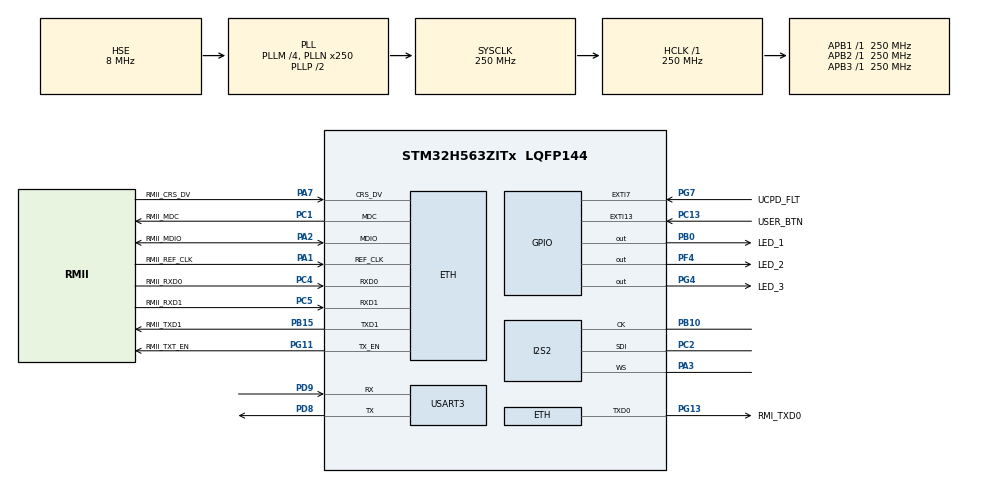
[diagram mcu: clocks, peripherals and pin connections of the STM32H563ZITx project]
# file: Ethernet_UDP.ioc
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BOOTPATH.BootPathName=LEGACY
BOOTPATH.UserSelectedBootPath=LEGACY
CORTEX_M33_NS.userName=CORTEX_M33
ETH.MediaInterface=HAL_ETH_RMII_MODE
GPDMA1.CIRCULARMODE_GPDMACH0=ENABLE
GPDMA1.DESTBURSTLENGTH_GPDMACH0=1
GPDMA1.DESTDATAWIDTH_GPDMACH0=DMA_DEST_DATAWIDTH_HALFWORD
GPDMA1.DESTINC_GPDMACH0=DMA_DINC_INCREMENTED
GPDMA1.IPHANDLE_GPDMACH0-SIMPLEREQUEST_GPDMACH0=__NULL
GPDMA1.PRIORITY_LL_CIRCULAR_GPDMACH0=DMA_LOW_PRIORITY_HIGH_WEIGHT
GPDMA1.REQUEST_GPDMACH0=GPDMA1_REQUEST_SPI2_RX
GPDMA1.SRCBURSTLENGTH_GPDMACH0=1
GPDMA1.SRCDATAWIDTH_GPDMACH0=DMA_SRC_DATAWIDTH_HALFWORD
GPDMA1.TRANSFERALLOCATEDPORTDEST_GPDMACH0=DMA_DEST_ALLOCATED_PORT1
I2S2.AudioFreq=I2S_AUDIOFREQ_32K
I2S2.CPOL=I2S_CPOL_LOW
I2S2.Data24BitAlignment=I2S_DATA_24BIT_ALIGNMENT_RIGHT
I2S2.DataFormat=I2S_DATAFORMAT_16B_EXTENDED
I2S2.ErrorAudioFreq=0.05 %
I2S2.FirstBit=I2S_FIRSTBIT_MSB
I2S2.Instance=SPI$Index
I2S2.RealAudioFreq=32.018 KHz
I2S2.WSInversion=I2S_WS_INVERSION_DISABLE
Mcu.Family=STM32H5
Mcu.Name=STM32H563ZITx
Mcu.Package=LQFP144
NETXDUO.ETH_ON=1
NETXDUO.Initialize_ICMP_protocol=false
NETXDUO.Initialize_TCP_protocol=false
NETXDUO.LAN_8742=1
NETXDUO.NX_APP_MEM_POOL_SIZE=1024*100
NETXDUO.NX_APP_THREAD_STACK_SIZE=1024*4
NETXDUO.NX_ENABLE_IP_STATIC_ROUTING=false
NETXDUO.NetXDuo_Generate_Init_Code=true
NETXDUO.NetXDuo_Static_IP_address=192.168.1.111
NVIC.ETH_IRQn=true\:7\:0\:true\:false\:true\:false\:true\:true\:true
NVIC.EXTI13_IRQn=true\:0\:0\:true\:false\:true\:false\:true\:true\:true
NVIC.GPDMA1_Channel0_IRQn=true\:0\:0\:false\:false\:true\:true\:false\:true\:true
NVIC.PriorityGroup=NVIC_PRIORITYGROUP_4
NVIC.SPI2_IRQn=true\:8\:0\:true\:false\:true\:false\:true\:true\:true
NVIC.TIM6_IRQn=true\:15\:0\:false\:false\:true\:false\:false\:true\:true
NVIC.TimeBase=TIM6_IRQn
NVIC.TimeBaseIP=TIM6
NetXDuo.BSP.number=1
NetXDuo0.BSP.STBoard=false
NetXDuo0.BSP.api=BSP_COMPONENT_DRIVER
NetXDuo0.BSP.component=lan8742
NetXDuo0.BSP.instance=lan8742
NetXDuo0.BSP.name=LAN_Component
NetXDuo0.BSP.semaphore=SEMA_lan8742
NetXDuo0.BSP.solution=lan8742
PA1.GPIO_Label=RMII_REF_CLK
PA1.GPIO_Mode=GPIO_MODE_AF_PP
PA1.GPIO_PuPd=GPIO_NOPULL
PA1.GPIO_Speed=GPIO_SPEED_FREQ_LOW
PA1.GPIO_Speed_Default_HIGH=GPIO_SPEED_FREQ_VERY_HIGH
PA1.Mode=RMII
PA1.Signal=ETH_REF_CLK
PA11.GPIO_Label=USB_FS_N
PA11.Signal=USB_DM
PA12.GPIO_Label=USB_FS_P
PA12.Signal=USB_DP
PA13(JTMS/SWDIO).GPIO_Label=SWDIO
PA13(JTMS/SWDIO).Signal=DEBUG_JTMS-SWDIO
PA14(JTCK/SWCLK).GPIO_Label=SWCLK
PA14(JTCK/SWCLK).Signal=DEBUG_JTCK-SWCLK
PA15(JTDI).GPIO_Label=T_JTDI
PA15(JTDI).Signal=DEBUG_JTDI
PA2.GPIO_Label=RMII_MDIO
PA2.GPIO_Mode=GPIO_MODE_AF_PP
PA2.GPIO_PuPd=GPIO_NOPULL
PA2.GPIO_Speed=GPIO_SPEED_FREQ_LOW
PA2.GPIO_Speed_Default_HIGH=GPIO_SPEED_FREQ_VERY_HIGH
PA2.Mode=RMII
PA2.Signal=ETH_MDIO
PA3.GPIO_Speed=GPIO_SPEED_FREQ_VERY_HIGH
PA3.Mode=Half_Duplex_Master_Rx
PA3.Signal=I2S2_WS
PA4.GPIO_Label=VBUS_SENSE
PA4.Signal=ADCx_INP18
PA7.GPIO_Label=RMII_CRS_DV
PA7.GPIO_Mode=GPIO_MODE_AF_PP
PA7.GPIO_PuPd=GPIO_NOPULL
PA7.GPIO_Speed=GPIO_SPEED_FREQ_LOW
PA7.GPIO_Speed_Default_HIGH=GPIO_SPEED_FREQ_VERY_HIGH
PA7.Mode=RMII
PA7.Signal=ETH_CRS_DV
PA9.GPIO_Label=UCDP_DBn
PA9.Signal=UCPD1_DB1
PB0.GPIO_Label=LED_1
PB0.Signal=GPIO_Output
PB10.GPIO_Speed=GPIO_SPEED_FREQ_VERY_HIGH
PB10.Mode=Half_Duplex_Master_Rx
PB10.Signal=I2S2_CK
PB13.GPIO_Label=UCPD_CC1
PB13.Signal=UCPD1_CC1
PB14.GPIO_Label=UCPD_CC2
PB14.Signal=UCPD1_CC2
PB15.GPIO_Label=RMII_TXD1
PB15.GPIO_Mode=GPIO_MODE_AF_PP
PB15.GPIO_PuPd=GPIO_NOPULL
PB15.GPIO_Speed=GPIO_SPEED_FREQ_LOW
PB15.GPIO_Speed_Default_HIGH=GPIO_SPEED_FREQ_VERY_HIGH
PB15.Mode=RMII
PB15.Signal=ETH_TXD1
PB3(JTDO/TRACESWO).GPIO_Label=SWO
PB3(JTDO/TRACESWO).Signal=DEBUG_JTDO-SWO
PB6.GPIO_Label=ARD_D1_TX
PB6.Signal=LPUART1_TX
PB7.GPIO_Label=ARD_D0_RX
PB7.Signal=LPUART1_RX
PC1.GPIO_Label=RMII_MDC
PC1.GPIO_Mode=GPIO_MODE_AF_PP
PC1.GPIO_PuPd=GPIO_NOPULL
PC1.GPIO_Speed=GPIO_SPEED_FREQ_LOW
PC1.GPIO_Speed_Default_HIGH=GPIO_SPEED_FREQ_VERY_HIGH
PC1.Mode=RMII
PC1.Signal=ETH_MDC
PC13.GPIO_Label=USER_BTN
PC13.Signal=GPXTI13
PC14-OSC32_IN(OSC32_IN).Signal=RCC_OSC32_IN
PC15-OSC32_OUT(OSC32_OUT).Signal=RCC_OSC32_OUT
PC2.GPIO_Speed=GPIO_SPEED_FREQ_VERY_HIGH
PC2.Mode=Half_Duplex_Master_Rx
PC2.Signal=I2S2_SDI
PC4.GPIO_Label=RMII_RXD0
PC4.GPIO_Mode=GPIO_MODE_AF_PP
PC4.GPIO_PuPd=GPIO_NOPULL
PC4.GPIO_Speed=GPIO_SPEED_FREQ_LOW
PC4.GPIO_Speed_Default_HIGH=GPIO_SPEED_FREQ_VERY_HIGH
PC4.Mode=RMII
PC4.Signal=ETH_RXD0
PC5.GPIO_Label=RMII_RXD1
PC5.GPIO_Mode=GPIO_MODE_AF_PP
PC5.GPIO_PuPd=GPIO_NOPULL
PC5.GPIO_Speed=GPIO_SPEED_FREQ_LOW
PC5.GPIO_Speed_Default_HIGH=GPIO_SPEED_FREQ_VERY_HIGH
PC5.Mode=RMII
PC5.Signal=ETH_RXD1
PD8.Mode=Asynchronous
PD8.Signal=USART3_TX
PD9.Mode=Asynchronous
PD9.Signal=USART3_RX
PE2.GPIO_Label=TRACE_CK
PE2.Signal=DEBUG_TRACECLK
PE3.GPIO_Label=TRACE_D0
PE3.Signal=DEBUG_TRACED0
PE4.GPIO_Label=TRACE_D1
PE4.Signal=DEBUG_TRACED1
PE5.GPIO_Label=TRACE_D2
PE5.Signal=DEBUG_TRACED2
PE6.GPIO_Label=TRACE_D3
PE6.Signal=DEBUG_TRACED3
PF4.GPIO_Label=LED_2
PF4.Signal=GPIO_Output
PG11.GPIO_Label=RMII_TXT_EN
PG11.GPIO_Mode=GPIO_MODE_AF_PP
PG11.GPIO_PuPd=GPIO_NOPULL
PG11.GPIO_Speed=GPIO_SPEED_FREQ_LOW
PG11.GPIO_Speed_Default_HIGH=GPIO_SPEED_FREQ_VERY_HIGH
PG11.Mode=RMII
PG11.Signal=ETH_TX_EN
PG13.GPIO_Label=RMI_TXD0
PG13.GPIO_Mode=GPIO_MODE_AF_PP
PG13.GPIO_PuPd=GPIO_NOPULL
PG13.GPIO_Speed=GPIO_SPEED_FREQ_LOW
PG13.GPIO_Speed_Default_HIGH=GPIO_SPEED_FREQ_VERY_HIGH
PG13.Mode=RMII
PG13.Signal=ETH_TXD0
PG4.GPIO_Label=LED_3
PG4.Signal=GPIO_Output
PG7.GPIO_Label=UCPD_FLT
PG7.Signal=GPXTI7
PH0-OSC_IN(PH0).GPIO_Label=STLK_MCO
PH0-OSC_IN(PH0).Mode=HSE-External-Clock-Source
PH0-OSC_IN(PH0).Signal=RCC_OSC_IN
ProjectManager.HeapSize=0x200
ProjectManager.StackSize=0x400
ProjectManager.TargetToolchain=CMake
RCC.ADCFreq_Value=250000000
RCC.AHBFreq_Value=250000000
RCC.APB1Freq_Value=250000000
RCC.APB1TimFreq_Value=250000000
RCC.APB2Freq_Value=250000000
RCC.APB2TimFreq_Value=250000000
RCC.APB3Freq_Value=250000000
RCC.CSI_VALUE=4000000
RCC.CortexFreq_Value=250000000
RCC.EPOD_VALUE=8000000
RCC.HCLKFreq_Value=250000000
RCC.HSE_VALUE=8000000
RCC.HSI48_VALUE=48000000
RCC.HSIDiv=RCC_HSI_DIV1
RCC.HSI_VALUE=64000000
RCC.LSE_VALUE=32768
RCC.LSIRC_VALUE=32000
RCC.PLLM=4
RCC.PLLN=250
RCC.PLLSourceVirtual=RCC_PLL1_SOURCE_HSE
RCC.SYSCLKFreq_VALUE=250000000
RCC.SYSCLKSource=RCC_SYSCLKSOURCE_PLLCLK
RCC.USBFreq_Value=48000000
RCC.VCOOutputFreq_Value=500000000
SH.ADCx_INP18.0=ADC1_INP18
THREADX.TX_APP_CREATION=1
THREADX.TX_APP_GENERATE_INIT_CODE=true
THREADX.TX_APP_MEM_POOL_SIZE=1024*8
USART3.VirtualMode-Asynchronous=VM_ASYNC
VP_BOOTPATH_VS_BOOTPATH.Mode=BP_Activate
VP_CORTEX_M33_NS_VS_Hclk.Mode=Hclk_Mode
VP_GPDMA1_VS_GPDMACH0.Mode=SIMPLEREQUEST_GPDMACH0
VP_ICACHE_VS_ICACHE.Mode=DirectMappedCache
VP_MEMORYMAP_VS_MEMORYMAP.Mode=CurAppReg
VP_NETXDUO_VS_EthernetOoPhyOoInterface.Mode=LAN8742_Phy_Interface
VP_NETXDUO_VS_NXOoCore.Mode=NX_Core
VP_NETXDUO_VS_NetworkOoInterface.Mode=Ethernet_Interface
VP_PWR_VS_DBSignals.Mode=DisableDeadBatterySignals
VP_PWR_VS_LPOM.Mode=PowerOptimisation
VP_PWR_VS_SECSignals.Mode=Security/Privilege
VP_SYS_VS_tim6.Mode=TIM6
VP_THREADX_VS_RTOSJjThreadXJjCoreJjDefault.Mode=Core_Default
board=NUCLEO-H563ZI

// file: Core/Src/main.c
/* USER CODE BEGIN Header */
/**
  ******************************************************************************
  * @file           : main.c
  * @brief          : Main program body
  ******************************************************************************
  * @attention
  *
  * Copyright (c) 2025 STMicroelectronics.
  * All rights reserved.
  *
  * This software is licensed under terms that can be found in the LICENSE file
  * in the root directory of this software component.
  * If no LICENSE file comes with this software, it is provided AS-IS.
  *
  ******************************************************************************
  */
/* USER CODE END Header */
#include "app_threadx.h"
#include "main.h"
#include "string.h"

/* USER CODE BEGIN Includes */
#include <stdio.h>
#include "app_netxduo.h"
/* USER CODE END Includes */

/* USER CODE BEGIN PTD */
#if defined(__ICCARM__)
/* New definition from EWARM V9, compatible with EWARM8 */
int iar_fputc(int ch);
#define PUTCHAR_PROTOTYPE int iar_fputc(int ch)
#elif defined ( __CC_ARM ) || defined(__ARMCC_VERSION)
/* ARM Compiler 5/6*/
#define PUTCHAR_PROTOTYPE int fputc(int ch, FILE *f)
#elif defined(__GNUC__)
#define PUTCHAR_PROTOTYPE int __io_putchar(int ch)
#endif /* __ICCARM__ */
/* USER CODE END PTD */

ETH_DMADescTypeDef  DMARxDscrTab[ETH_RX_DESC_CNT]; /* Ethernet Rx DMA Descriptors */
ETH_DMADescTypeDef  DMATxDscrTab[ETH_TX_DESC_CNT]; /* Ethernet Tx DMA Descriptors */

ETH_HandleTypeDef heth;

I2S_HandleTypeDef hi2s2;
DMA_NodeTypeDef Node_GPDMA1_Channel0;
DMA_QListTypeDef List_GPDMA1_Channel0;
DMA_HandleTypeDef handle_GPDMA1_Channel0;

UART_HandleTypeDef huart3;

/* USER CODE BEGIN PV */
//For microphone/dma

//ALIGN_32BYTES(volatile int32_t data_i2s[AUDIO_BUFFER_SIZE]);
volatile uint8_t half = 0;
extern TX_EVENT_FLAGS_GROUP audio_events;

/* USER CODE END PV */

void SystemClock_Config(void);
static void MX_GPIO_Init(void);
static void MX_GPDMA1_Init(void);
static void MX_ETH_Init(void);
static void MX_ICACHE_Init(void);
static void MX_I2S2_Init(void);
static void MX_USART3_UART_Init(void);

/* USER CODE BEGIN 0 */
int __io_putchar(int ch)
{
  /* Place your implementation of fputc here */
  /* e.g. write a character to the USART3 and Loop until the end of transmission */
  HAL_UART_Transmit(&huart3, (uint8_t *)&ch, 1, 0xFFFF);
  return ch;
}
/* USER CODE END 0 */

int main(void)
{

  /* MCU Configuration--------------------------------------------------------*/

  /* Reset of all peripherals, Initializes the Flash interface and the Systick. */
  HAL_Init();

  /* Configure the system clock */
  SystemClock_Config();

  /* Initialize all configured peripherals */
  MX_GPIO_Init();
  MX_GPDMA1_Init();
  MX_ETH_Init();
  MX_ICACHE_Init();
  MX_I2S2_Init();
  MX_USART3_UART_Init();
  /* USER CODE BEGIN 2 */
  printf("STM32 UDP Application Starting\r\n");
  HAL_UART_Transmit(&huart3, (uint8_t *)"Direct UART test\r\n", 18, 0xFFFF);

  /* USER CODE END 2 */

  MX_ThreadX_Init();

  /* We should never get here as control is now taken by the scheduler */

  /* Infinite loop */
  while (1)
  {

  }
}

void SystemClock_Config(void)
{
  RCC_OscInitTypeDef RCC_OscInitStruct = {0};
  RCC_ClkInitTypeDef RCC_ClkInitStruct = {0};

  /** Configure the main internal regulator output voltage
  */
  __HAL_PWR_VOLTAGESCALING_CONFIG(PWR_REGULATOR_VOLTAGE_SCALE0);

  while(!__HAL_PWR_GET_FLAG(PWR_FLAG_VOSRDY)) {}

  /** Initializes the RCC Oscillators according to the specified parameters
  * in the RCC_OscInitTypeDef structure.
  */
  RCC_OscInitStruct.OscillatorType = RCC_OSCILLATORTYPE_HSE;
  RCC_OscInitStruct.HSEState = RCC_HSE_BYPASS;
  RCC_OscInitStruct.PLL.PLLState = RCC_PLL_ON;
  RCC_OscInitStruct.PLL.PLLSource = RCC_PLL1_SOURCE_HSE;
  RCC_OscInitStruct.PLL.PLLM = 4;
  RCC_OscInitStruct.PLL.PLLN = 250;
  RCC_OscInitStruct.PLL.PLLP = 2;
  RCC_OscInitStruct.PLL.PLLQ = 2;
  RCC_OscInitStruct.PLL.PLLR = 2;
  RCC_OscInitStruct.PLL.PLLRGE = RCC_PLL1_VCIRANGE_1;
  RCC_OscInitStruct.PLL.PLLVCOSEL = RCC_PLL1_VCORANGE_WIDE;
  RCC_OscInitStruct.PLL.PLLFRACN = 0;
  if (HAL_RCC_OscConfig(&RCC_OscInitStruct) != HAL_OK)
  {
    Error_Handler();
  }

  /** Initializes the CPU, AHB and APB buses clocks
  */
  RCC_ClkInitStruct.ClockType = RCC_CLOCKTYPE_HCLK|RCC_CLOCKTYPE_SYSCLK
                              |RCC_CLOCKTYPE_PCLK1|RCC_CLOCKTYPE_PCLK2
                              |RCC_CLOCKTYPE_PCLK3;
  RCC_ClkInitStruct.SYSCLKSource = RCC_SYSCLKSOURCE_PLLCLK;
  RCC_ClkInitStruct.AHBCLKDivider = RCC_SYSCLK_DIV1;
  RCC_ClkInitStruct.APB1CLKDivider = RCC_HCLK_DIV1;
  RCC_ClkInitStruct.APB2CLKDivider = RCC_HCLK_DIV1;
  RCC_ClkInitStruct.APB3CLKDivider = RCC_HCLK_DIV1;

  if (HAL_RCC_ClockConfig(&RCC_ClkInitStruct, FLASH_LATENCY_5) != HAL_OK)
  {
    Error_Handler();
  }

  /** Configure the programming delay
  */
  __HAL_FLASH_SET_PROGRAM_DELAY(FLASH_PROGRAMMING_DELAY_2);
}

static void MX_ETH_Init(void)
{

   static uint8_t MACAddr[6];

  heth.Instance = ETH;
  MACAddr[0] = 0x00;
  MACAddr[1] = 0x80;
  MACAddr[2] = 0xE1;
  MACAddr[3] = 0x00;
  MACAddr[4] = 0x00;
  MACAddr[5] = 0x00;
  heth.Init.MACAddr = &MACAddr[0];
  heth.Init.MediaInterface = HAL_ETH_RMII_MODE;
  heth.Init.TxDesc = DMATxDscrTab;
  heth.Init.RxDesc = DMARxDscrTab;
  heth.Init.RxBuffLen = 1524;

  if (HAL_ETH_Init(&heth) != HAL_OK)
  {
    Error_Handler();
  }

}

static void MX_GPDMA1_Init(void)
{

  /* Peripheral clock enable */
  __HAL_RCC_GPDMA1_CLK_ENABLE();

  /* GPDMA1 interrupt Init */
    HAL_NVIC_SetPriority(GPDMA1_Channel0_IRQn, 0, 0);
    HAL_NVIC_EnableIRQ(GPDMA1_Channel0_IRQn);

}

static void MX_I2S2_Init(void)
{

  hi2s2.Instance = SPI2;
  hi2s2.Init.Mode = I2S_MODE_MASTER_RX;
  hi2s2.Init.Standard = I2S_STANDARD_PHILIPS;
  hi2s2.Init.DataFormat = I2S_DATAFORMAT_16B_EXTENDED;
  hi2s2.Init.MCLKOutput = I2S_MCLKOUTPUT_DISABLE;
  hi2s2.Init.AudioFreq = I2S_AUDIOFREQ_32K;
  hi2s2.Init.CPOL = I2S_CPOL_LOW;
  hi2s2.Init.FirstBit = I2S_FIRSTBIT_MSB;
  hi2s2.Init.WSInversion = I2S_WS_INVERSION_DISABLE;
  hi2s2.Init.Data24BitAlignment = I2S_DATA_24BIT_ALIGNMENT_RIGHT;
  hi2s2.Init.MasterKeepIOState = I2S_MASTER_KEEP_IO_STATE_DISABLE;
  if (HAL_I2S_Init(&hi2s2) != HAL_OK)
  {
    Error_Handler();
  }

}

static void MX_ICACHE_Init(void)
{

  /** Enable instruction cache in 1-way (direct mapped cache)
  */
  if (HAL_ICACHE_ConfigAssociativityMode(ICACHE_1WAY) != HAL_OK)
  {
    Error_Handler();
  }
  if (HAL_ICACHE_Enable() != HAL_OK)
  {
    Error_Handler();
  }

}

static void MX_USART3_UART_Init(void)
{

  huart3.Instance = USART3;
  huart3.Init.BaudRate = 115200;
  huart3.Init.WordLength = UART_WORDLENGTH_8B;
  huart3.Init.StopBits = UART_STOPBITS_1;
  huart3.Init.Parity = UART_PARITY_NONE;
  huart3.Init.Mode = UART_MODE_TX_RX;
  huart3.Init.HwFlowCtl = UART_HWCONTROL_NONE;
  huart3.Init.OverSampling = UART_OVERSAMPLING_16;
  huart3.Init.OneBitSampling = UART_ONE_BIT_SAMPLE_DISABLE;
  huart3.Init.ClockPrescaler = UART_PRESCALER_DIV1;
  huart3.AdvancedInit.AdvFeatureInit = UART_ADVFEATURE_NO_INIT;
  if (HAL_UART_Init(&huart3) != HAL_OK)
  {
    Error_Handler();
  }
  if (HAL_UARTEx_SetTxFifoThreshold(&huart3, UART_TXFIFO_THRESHOLD_1_8) != HAL_OK)
  {
    Error_Handler();
  }
  if (HAL_UARTEx_SetRxFifoThreshold(&huart3, UART_RXFIFO_THRESHOLD_1_8) != HAL_OK)
  {
    Error_Handler();
  }
  if (HAL_UARTEx_DisableFifoMode(&huart3) != HAL_OK)
  {
    Error_Handler();
  }

}

static void MX_GPIO_Init(void)
{
  GPIO_InitTypeDef GPIO_InitStruct = {0};

  /* GPIO Ports Clock Enable */
  __HAL_RCC_GPIOE_CLK_ENABLE();
  __HAL_RCC_GPIOC_CLK_ENABLE();
  __HAL_RCC_GPIOF_CLK_ENABLE();
  __HAL_RCC_GPIOH_CLK_ENABLE();
  __HAL_RCC_GPIOA_CLK_ENABLE();
  __HAL_RCC_GPIOB_CLK_ENABLE();
  __HAL_RCC_GPIOD_CLK_ENABLE();
  __HAL_RCC_GPIOG_CLK_ENABLE();

  /*Configure GPIO pin Output Level */
  HAL_GPIO_WritePin(LED_2_GPIO_Port, LED_2_Pin, GPIO_PIN_RESET);

  /*Configure GPIO pin Output Level */
  HAL_GPIO_WritePin(LED_1_GPIO_Port, LED_1_Pin, GPIO_PIN_RESET);

  /*Configure GPIO pin Output Level */
  HAL_GPIO_WritePin(LED_3_GPIO_Port, LED_3_Pin, GPIO_PIN_RESET);

  /*Configure GPIO pin : USER_BTN_Pin */
  GPIO_InitStruct.Pin = USER_BTN_Pin;
  GPIO_InitStruct.Mode = GPIO_MODE_IT_RISING;
  GPIO_InitStruct.Pull = GPIO_NOPULL;
  HAL_GPIO_Init(USER_BTN_GPIO_Port, &GPIO_InitStruct);

  /*Configure GPIO pin : LED_2_Pin */
  GPIO_InitStruct.Pin = LED_2_Pin;
  GPIO_InitStruct.Mode = GPIO_MODE_OUTPUT_PP;
  GPIO_InitStruct.Pull = GPIO_NOPULL;
  GPIO_InitStruct.Speed = GPIO_SPEED_FREQ_LOW;
  HAL_GPIO_Init(LED_2_GPIO_Port, &GPIO_InitStruct);

  /*Configure GPIO pin : VBUS_SENSE_Pin */
  GPIO_InitStruct.Pin = VBUS_SENSE_Pin;
  GPIO_InitStruct.Mode = GPIO_MODE_ANALOG;
  GPIO_InitStruct.Pull = GPIO_NOPULL;
  HAL_GPIO_Init(VBUS_SENSE_GPIO_Port, &GPIO_InitStruct);

  /*Configure GPIO pin : LED_1_Pin */
  GPIO_InitStruct.Pin = LED_1_Pin;
  GPIO_InitStruct.Mode = GPIO_MODE_OUTPUT_PP;
  GPIO_InitStruct.Pull = GPIO_NOPULL;
  GPIO_InitStruct.Speed = GPIO_SPEED_FREQ_LOW;
  HAL_GPIO_Init(LED_1_GPIO_Port, &GPIO_InitStruct);

  /*Configure GPIO pins : UCPD_CC1_Pin UCPD_CC2_Pin */
  GPIO_InitStruct.Pin = UCPD_CC1_Pin|UCPD_CC2_Pin;
  GPIO_InitStruct.Mode = GPIO_MODE_ANALOG;
  GPIO_InitStruct.Pull = GPIO_NOPULL;
  HAL_GPIO_Init(GPIOB, &GPIO_InitStruct);

  /*Configure GPIO pin : LED_3_Pin */
  GPIO_InitStruct.Pin = LED_3_Pin;
  GPIO_InitStruct.Mode = GPIO_MODE_OUTPUT_PP;
  GPIO_InitStruct.Pull = GPIO_NOPULL;
  GPIO_InitStruct.Speed = GPIO_SPEED_FREQ_LOW;
  HAL_GPIO_Init(LED_3_GPIO_Port, &GPIO_InitStruct);

  /*Configure GPIO pin : UCPD_FLT_Pin */
  GPIO_InitStruct.Pin = UCPD_FLT_Pin;
  GPIO_InitStruct.Mode = GPIO_MODE_IT_RISING;
  GPIO_InitStruct.Pull = GPIO_NOPULL;
  HAL_GPIO_Init(UCPD_FLT_GPIO_Port, &GPIO_InitStruct);

  /*Configure GPIO pins : USB_FS_N_Pin USB_FS_P_Pin */
  GPIO_InitStruct.Pin = USB_FS_N_Pin|USB_FS_P_Pin;
  GPIO_InitStruct.Mode = GPIO_MODE_AF_PP;
  GPIO_InitStruct.Pull = GPIO_NOPULL;
  GPIO_InitStruct.Speed = GPIO_SPEED_FREQ_LOW;
  GPIO_InitStruct.Alternate = GPIO_AF10_USB;
  HAL_GPIO_Init(GPIOA, &GPIO_InitStruct);

  /*Configure GPIO pins : ARD_D1_TX_Pin ARD_D0_RX_Pin */
  GPIO_InitStruct.Pin = ARD_D1_TX_Pin|ARD_D0_RX_Pin;
  GPIO_InitStruct.Mode = GPIO_MODE_AF_PP;
  GPIO_InitStruct.Pull = GPIO_NOPULL;
  GPIO_InitStruct.Speed = GPIO_SPEED_FREQ_LOW;
  GPIO_InitStruct.Alternate = GPIO_AF8_LPUART1;
  HAL_GPIO_Init(GPIOB, &GPIO_InitStruct);

  /* EXTI interrupt init*/
  HAL_NVIC_SetPriority(EXTI13_IRQn, 0, 0);
  HAL_NVIC_EnableIRQ(EXTI13_IRQn);

}

/* USER CODE BEGIN 4 */
void HAL_I2S_RxCpltCallback(I2S_HandleTypeDef *hi2s2)
{
  (void)hi2s2;
  HAL_GPIO_TogglePin(LED_2_GPIO_Port, LED_2_Pin);
  half = 1;
  tx_event_flags_set(&audio_events, AUDIO_DATA_FLAG, TX_OR);
}
void HAL_I2S_RxHalfCpltCallback(I2S_HandleTypeDef *hi2s2)
{
  (void)hi2s2;
  half = 0;
  tx_event_flags_set(&audio_events, AUDIO_DATA_FLAG, TX_OR);
}

/* USER CODE END 4 */

void HAL_TIM_PeriodElapsedCallback(TIM_HandleTypeDef *htim)
{
  if (htim->Instance == TIM6) {
    HAL_IncTick();
  }
}

void Error_Handler(void)
{
  __disable_irq();
  while (1)
  {
  }
}
